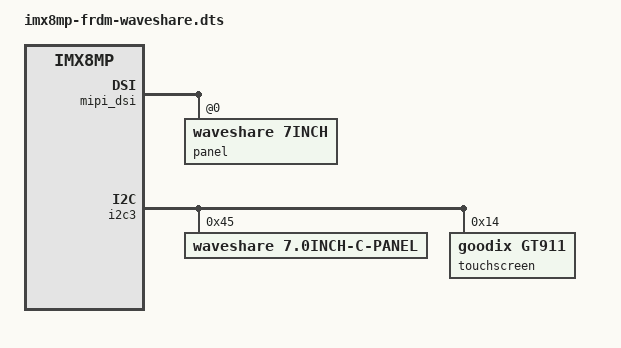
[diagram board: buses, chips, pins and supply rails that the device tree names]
// SPDX-License-Identifier: (GPL-2.0+ OR MIT)
/*
 * Copyright 2025 NXP
 */

#include "imx8mp-frdm.dts"

&mipi_dsi {
	status = "okay";
	panel@0{
		compatible = "waveshare,7inch";
		reg = <0>;
		status = "okay";
	};
};

&i2c3 {
	waveshare: panel@45 {
		compatible = "waveshare,7.0inch-c-panel";
		reg = <0x45>;
		status = "okay";
	};

	touchscreen@14{
		reg = <0x14>;
		compatible = "goodix,gt911";
		touchscreen-size-x = <1024>;
		touchscreen-size-y = <600>;
	};
};

&lcdif3 {
	status = "disabled";
};
